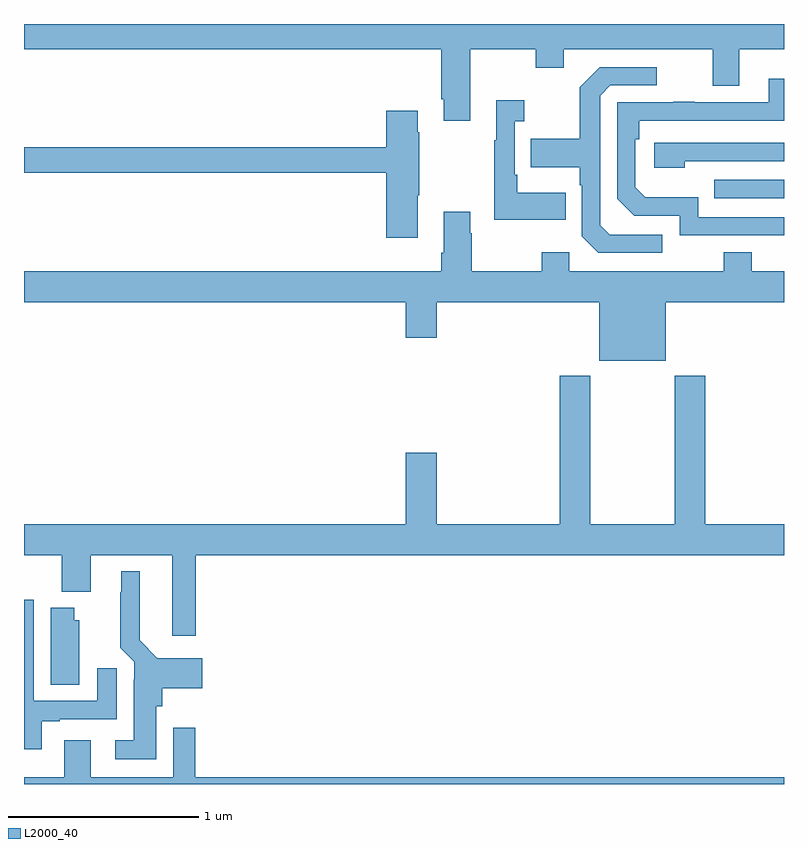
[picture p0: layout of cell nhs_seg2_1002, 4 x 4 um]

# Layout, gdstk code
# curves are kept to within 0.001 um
import gdstk
lib = gdstk.Library(unit=1e-6, precision=1e-09)
def R(c, l, rs):  # rectangles x0, y0, x1, y1
    for r in rs: c.add(gdstk.rectangle(r[:2], r[2:], *l))
def P(c, l, *ps):  # polygons
    for p in ps: c.add(gdstk.Polygon(p, *l))
L2000_40 = (2000, 40)

nhs_seg2_1002 = lib.new_cell('nhs_seg2_1002')
R(nhs_seg2_1002, L2000_40, [(166.633,614.883,167,614.979)])
P(nhs_seg2_1002, L2000_40, [(165.349,615.668),(165.694,615.668),(165.694,615.569),(165.841,615.569),(165.841,615.668),(166.625,615.668),(166.625,615.474),(166.765,615.474),(166.765,615.668),(167,615.668),(167,615.8),(163,615.8),(163,615.668),(165.197,615.668),(165.197,615.403),(165.209,615.403),(165.209,615.291),(165.349,615.291)],
  [(166.36,614.691),(166.083,614.691),(166.032,614.742),(166.032,615.423),(166.086,615.477),(166.33,615.477),(166.33,615.573),(166.029,615.573),(165.924,615.467),(165.924,615.195),(165.667,615.195),(165.667,615.047),(165.924,615.047),(165.924,614.951),(165.936,614.951),(165.936,614.682),(166.023,614.595),(166.36,614.595)],
  [(167,614.784),(166.548,614.784),(166.548,614.887),(166.271,614.887),(166.218,614.94),(166.218,615.194),(166.238,615.194),(166.238,615.291),(167,615.292),(167,615.511),(166.919,615.511),(166.919,615.387),(166.529,615.387),(166.529,615.392),(166.417,615.392),(166.417,615.387),(166.122,615.387),(166.122,614.88),(166.212,614.79),(166.452,614.79),(166.452,614.688),(167,614.688)],
  [(165.851,614.911),(165.595,614.911),(165.595,615.007),(165.582,615.007),(165.582,615.287),(165.634,615.287),(165.634,615.4),(165.485,615.4),(165.485,615.187),(165.474,615.187),(165.474,614.771),(165.851,614.771)],
  [(165.073,614.899),(165.081,614.899),(165.081,615.23),(165.073,615.23),(165.073,615.343),(164.906,615.343),(164.906,615.152),(163,615.152),(163,615.016),(164.906,615.016),(164.906,614.676),(165.073,614.676)],
  [(166.478,615.078),(167,615.078),(167,615.174),(166.317,615.174),(166.317,615.044),(166.478,615.044)],
  [(166.378,614.336),(167,614.336),(167,614.5),(166.831,614.5),(166.831,614.599),(166.684,614.599),(166.684,614.5),(165.87,614.5),(165.87,614.599),(165.724,614.599),(165.724,614.5),(165.357,614.5),(165.357,614.699),(165.349,614.699),(165.349,614.812),(165.209,614.812),(165.209,614.596),(165.197,614.596),(165.197,614.5),(163,614.5),(163,614.336),(165.008,614.336),(165.008,614.148),(165.172,614.148),(165.172,614.336),(166.028,614.336),(166.028,614.027),(166.378,614.027)],
  [(163.904,613.004),(167,613.004),(167,613.168),(166.586,613.168),(166.586,613.948),(166.426,613.948),(166.426,613.168),(165.981,613.168),(165.981,613.948),(165.821,613.948),(165.821,613.168),(165.172,613.168),(165.172,613.543),(165.008,613.543),(165.008,613.168),(163,613.168),(163,613.004),(163.199,613.004),(163.199,612.812),(163.351,612.812),(163.351,613.004),(163.781,613.004),(163.781,612.579),(163.904,612.579)],
  [(163.696,612.21),(163.727,612.21),(163.727,612.305),(163.939,612.305),(163.939,612.463),(163.701,612.463),(163.609,612.556),(163.609,612.919),(163.511,612.919),(163.511,612.809),(163.507,612.809),(163.507,612.518),(163.581,612.444),(163.581,612.35),(163.577,612.35),(163.577,612.031),(163.479,612.031),(163.479,611.93),(163.696,611.93)],
  [(163.093,612.129),(163.189,612.129),(163.189,612.141),(163.489,612.141),(163.489,612.409),(163.385,612.409),(163.385,612.237),(163.051,612.237),(163.051,612.769),(163,612.769),(163,611.982),(163.093,611.982)],
  [(163.291,612.663),(163.264,612.663),(163.264,612.727),(163.142,612.727),(163.142,612.322),(163.291,612.322)],
  [(167,611.836),(163.901,611.836),(163.901,612.097),(163.785,612.097),(163.785,611.836),(163.351,611.836),(163.351,612.031),(163.211,612.031),(163.211,611.836),(163,611.836),(163,611.8),(167,611.8)])

lib.write_gds('nhs_seg2_1002.gds')
